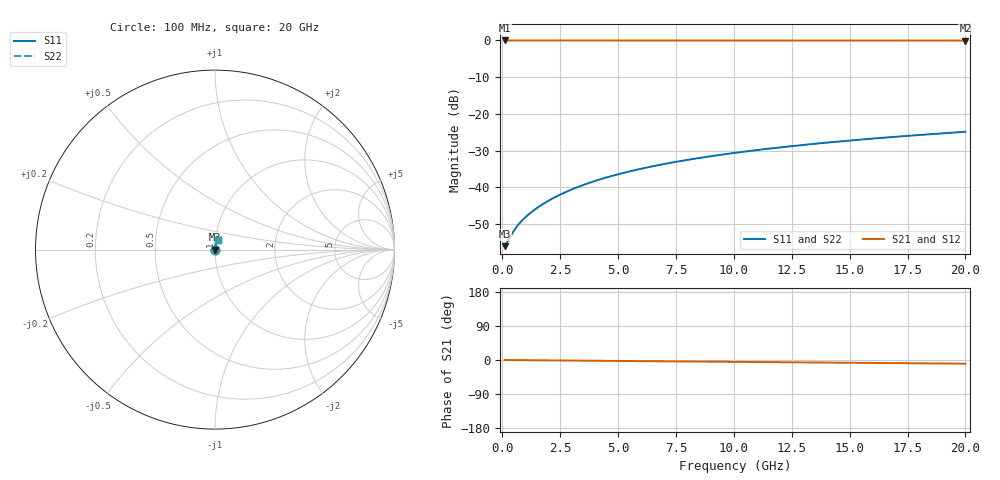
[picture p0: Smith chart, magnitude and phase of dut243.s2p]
! Touchstone file exported from HFSS 2026.1.0
!  File:  C:/ffzhzh/LocalFiles/Ansys_Project_Files/temp_train_TMRDL_243_1782984707_41620.aedt
!  Generated:  05:33:00 PM Jul  2, 2026
!  Design:  TMRDL
!  Project:  temp_train_TMRDL_243_1782984707_41620
! Variables:
!  h_bsmrdl = 2um
!  h_ox = 20um
!  h_rdl = 5um
!  h_sub = 80um
!  h_tmrdl = 2.01um
!  h_tsv = 80um
!  h_via = 3um
!  l_bsmrdl = 300um
!  l_sub = 541.07um
!  l_tmrdl = 141.07um
!  m_sub = 200um
!  pitch = 31.41um
!  r_tsv = 6um
!  s_tmrdl = 10um
!  w_bsmrdl = 18um
!  w_sub = 500um
!  w_tmrdl = 23.37um
!  x_tsv_center1 = 152.755um
!  x_tsv_center2 = 470.755um
!  x_tsv_center3 = 635.195um
!  x_tsv_center4 = 953.195um
!  x_tsv_center5 = 1117.635um
!  x_tsv_center6 = 1435.635um
# GHz S MA R 50.000000
! Terminal data exported
! Port[1] = TM_RDL1_1_T1
! Port[2] = TM_RDL1_1_T2
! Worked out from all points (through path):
!   200 points, 100 MHz to 20 GHz, reference 50 ohm
!   highest |S21| = -0.01 dB at 100 MHz (marker M1); lowest = -0.1 dB at 20 GHz (marker M2)
!   group delay of S21, straight-line fit = 1.34 ps
!   lowest |S11| = -56.1 dB at 100 MHz (marker M3), VSWR 1.00, Z = 50.2 + j0.0401 ohm
!   |S11| at or under -10 dB: start of sweep to end of sweep
!   |S22| runs from -56.1 to -24.9 dB; largest |S21 - S12| = 3.2e-15
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0.1  0.001575 14.7  0.9985 -0.1  0.9985 -0.1  0.001575 14.7
! Gamma 0 0 0 0
! Port Impedance 50 0 50 0
0.2  0.001752 26.7  0.9984 -0.1  0.9984 -0.1  0.001752 26.7
0.4  0.00227 41.7  0.9983 -0.2  0.9983 -0.2  0.00227 41.7
0.5  0.002552 46.2  0.9982 -0.3  0.9982 -0.3  0.002552 46.2
0.7  0.00311 52.2  0.9981 -0.4  0.9981 -0.4  0.00311 52.2
0.8  0.003381 54.5  0.9981 -0.4  0.9981 -0.4  0.003381 54.5
1  0.003912 58.1  0.998 -0.5  0.998 -0.5  0.003912 58.1
1.3  0.0047 62.4  0.9979 -0.7  0.9979 -0.7  0.0047 62.4
1.8  0.006027 67.4  0.9978 -0.9  0.9978 -0.9  0.006027 67.4
2.3  0.007387 70.8  0.9977 -1.1  0.9977 -1.1  0.007387 70.8
2.9  0.009053 73.5  0.9976 -1.4  0.9976 -1.4  0.009053 73.5
3.5  0.01074 75.3  0.9975 -1.7  0.9975 -1.7  0.01074 75.4
4.2  0.01273 76.8  0.9975 -2.1  0.9975 -2.1  0.01273 76.8
5  0.01502 77.8  0.9974 -2.4  0.9974 -2.4  0.01502 77.8
5.9  0.0176 78.5  0.9972 -2.9  0.9972 -2.9  0.0176 78.5
6.8  0.02017 78.9  0.9971 -3.3  0.9971 -3.3  0.02017 78.9
8.3  0.02445 79.2  0.9968 -4.0  0.9968 -4.0  0.02445 79.2
10.1  0.02956 79.0  0.9965 -4.9  0.9965 -4.9  0.02955 79.0
11.7  0.03406 78.7  0.9961 -5.7  0.9961 -5.7  0.03406 78.7
13.4  0.03882 78.3  0.9957 -6.5  0.9957 -6.5  0.03882 78.3
16.7  0.04794 77.1  0.9948 -8.1  0.9948 -8.1  0.04794 77.1
20  0.05691 75.8  0.9939 -9.7  0.9939 -9.7  0.05691 75.8
